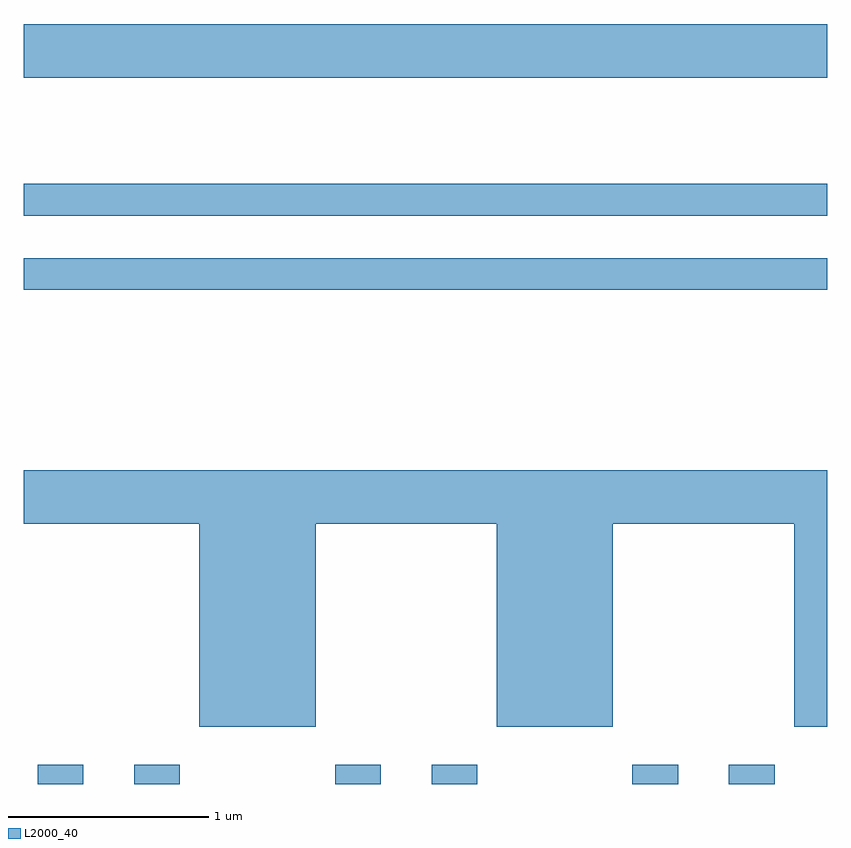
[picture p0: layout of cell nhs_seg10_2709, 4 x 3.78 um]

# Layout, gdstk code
import gdstk
lib = gdstk.Library(unit=1e-6, precision=1e-09)
def R(c, l, rs):  # rectangles x0, y0, x1, y1
    for r in rs: c.add(gdstk.rectangle(r[:2], r[2:], *l))
def P(c, l, *ps):  # polygons
    for p in ps: c.add(gdstk.Polygon(p, *l))
L2000_40 = (2000, 40)

nhs_seg10_2709 = lib.new_cell('nhs_seg10_2709')
R(nhs_seg10_2709, L2000_40, [(263.681,2212.522,263.909,2212.619), (264.161,2212.522,264.389,2212.619), (265.161,2212.522,265.389,2212.619), (265.641,2212.522,265.869,2212.619), (266.641,2212.522,266.869,2212.619), (267.121,2212.522,267.349,2212.619), (263.611,2214.981,267.611,2215.139), (263.611,2215.351,267.611,2215.509), (263.611,2216.036,267.611,2216.304)])
P(nhs_seg10_2709, L2000_40, [(265.064,2213.816),(265.966,2213.816),(265.966,2212.806),(266.544,2212.806),(266.544,2213.816),(267.446,2213.816),(267.446,2212.806),(267.611,2212.806),(267.611,2214.084),(263.611,2214.084),(263.611,2213.816),(264.486,2213.816),(264.486,2212.806),(265.064,2212.806)])

lib.write_gds('nhs_seg10_2709.gds')
